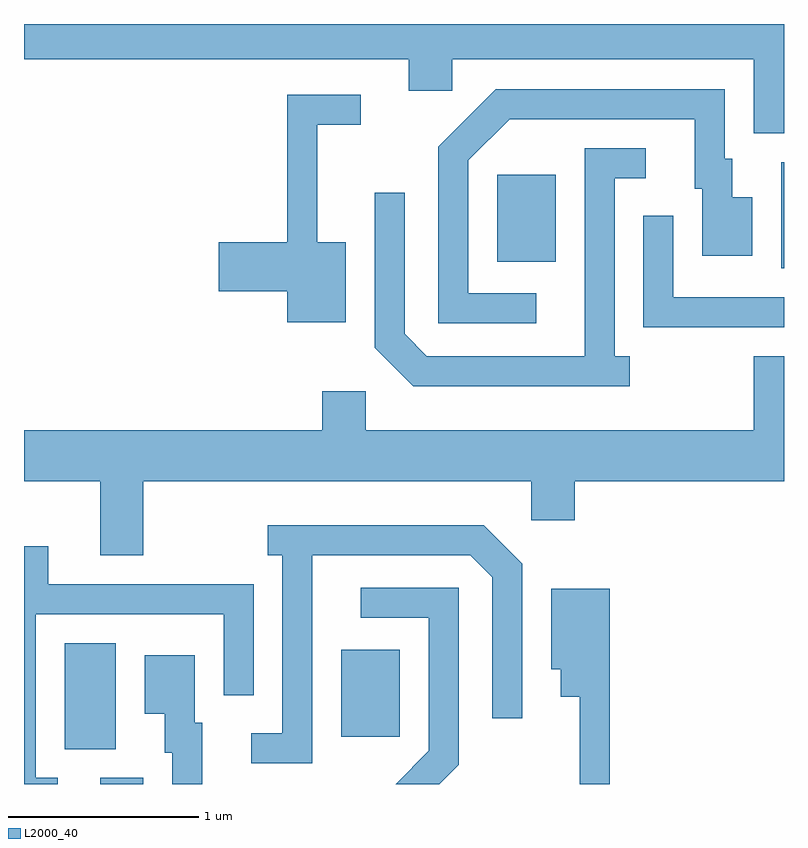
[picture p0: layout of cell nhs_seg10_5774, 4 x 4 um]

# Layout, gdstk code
import gdstk
lib = gdstk.Library(unit=1e-6, precision=1e-09)
def R(c, l, rs):  # rectangles x0, y0, x1, y1
    for r in rs: c.add(gdstk.rectangle(r[:2], r[2:], *l))
def P(c, l, *ps):  # polygons
    for p in ps: c.add(gdstk.Polygon(p, *l))
L2000_40 = (2000, 40)

nhs_seg10_5774 = lib.new_cell('nhs_seg10_5774')
R(nhs_seg10_5774, L2000_40, [(356.011,2134.522,356.239,2134.554), (355.826,2134.706,356.094,2135.264), (357.281,2134.771,357.589,2135.229), (359.596,2137.236,359.611,2137.794), (358.101,2137.271,358.409,2137.729)])
P(nhs_seg10_5774, L2000_40, [(359.611,2138.522),(355.611,2138.522),(355.611,2138.336),(357.636,2138.336),(357.636,2138.171),(357.864,2138.171),(357.864,2138.336),(359.451,2138.336),(359.451,2137.946),(359.611,2137.946)],
  [(358.308,2137.104),(357.949,2137.104),(357.949,2137.804),(358.167,2138.021),(359.141,2138.021),(359.141,2137.656),(359.181,2137.656),(359.181,2137.301),(359.444,2137.301),(359.444,2137.609),(359.339,2137.609),(359.339,2137.814),(359.299,2137.814),(359.299,2138.179),(358.094,2138.179),(357.791,2137.877),(357.791,2136.946),(358.308,2136.946)],
  [(357.304,2137.374),(357.154,2137.374),(357.154,2137.991),(357.383,2137.991),(357.383,2138.149),(356.996,2138.149),(356.996,2137.374),(356.636,2137.374),(356.636,2137.116),(356.996,2137.116),(356.996,2136.951),(357.304,2136.951)],
  [(358.798,2136.774),(358.719,2136.774),(358.719,2137.711),(358.883,2137.711),(358.883,2137.869),(358.561,2137.869),(358.561,2136.774),(357.732,2136.774),(357.614,2136.892),(357.614,2137.633),(357.456,2137.633),(357.456,2136.819),(357.659,2136.616),(358.798,2136.616)],
  [(359.611,2137.084),(359.029,2137.084),(359.029,2137.513),(358.871,2137.513),(358.871,2136.926),(359.611,2136.926)],
  [(356.239,2136.116),(358.281,2136.116),(358.281,2135.911),(358.509,2135.911),(358.509,2136.116),(359.611,2136.116),(359.611,2136.774),(359.451,2136.774),(359.451,2136.384),(357.409,2136.384),(357.409,2136.589),(357.181,2136.589),(357.181,2136.384),(355.611,2136.384),(355.611,2136.116),(356.011,2136.116),(356.011,2135.726),(356.239,2135.726)],
  [(357.129,2135.726),(357.959,2135.726),(358.076,2135.609),(358.076,2134.868),(358.234,2134.868),(358.234,2135.682),(358.032,2135.884),(356.893,2135.884),(356.893,2135.726),(356.971,2135.726),(356.971,2134.789),(356.808,2134.789),(356.808,2134.631),(357.129,2134.631)],
  [(355.788,2134.554),(355.674,2134.554),(355.674,2135.416),(356.661,2135.416),(356.661,2134.988),(356.819,2134.988),(356.819,2135.574),(355.739,2135.574),(355.739,2135.774),(355.611,2135.774),(355.611,2134.522),(355.788,2134.522)],
  [(357.899,2134.624),(357.899,2135.554),(357.383,2135.554),(357.383,2135.396),(357.741,2135.396),(357.741,2134.697),(357.567,2134.522),(357.797,2134.522)],
  [(358.694,2135.549),(358.386,2135.549),(358.386,2135.126),(358.436,2135.126),(358.436,2134.981),(358.536,2134.981),(358.536,2134.522),(358.694,2134.522)],
  [(356.549,2134.844),(356.509,2134.844),(356.509,2135.199),(356.246,2135.199),(356.246,2134.891),(356.351,2134.891),(356.351,2134.686),(356.391,2134.686),(356.391,2134.522),(356.549,2134.522)])

lib.write_gds('nhs_seg10_5774.gds')
